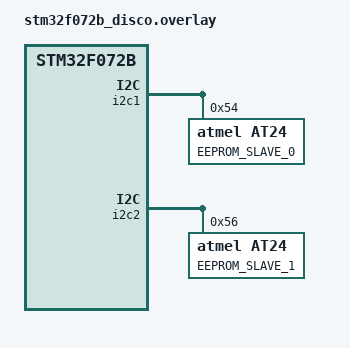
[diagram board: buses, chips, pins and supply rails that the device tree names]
/* SPDX-License-Identifier: Apache-2.0 */

&i2c1 {
	eeprom@54 {
		compatible = "atmel,at24";
		reg = <0x54>;
		label = "EEPROM_SLAVE_0";
		size = <1>;
	};
};


&i2c2 {
	eeprom@56 {
		compatible = "atmel,at24";
		reg = <0x56>;
		label = "EEPROM_SLAVE_1";
		size = <1>;
	};
};
